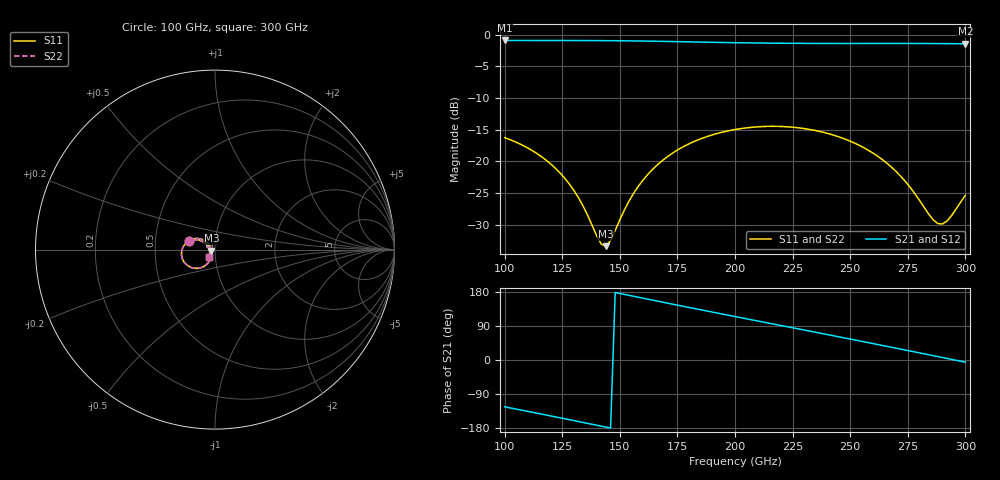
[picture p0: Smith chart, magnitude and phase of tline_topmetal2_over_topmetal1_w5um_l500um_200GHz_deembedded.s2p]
! Created with skrf 2.2.0 (http://scikit-rf.org).
# GHz S DB R 50.0
! Port[1] = P1
! Port[2] = P2
!freq dBS11 angS11 dBS21 angS21 dBS12 angS12 dBS22 angS22
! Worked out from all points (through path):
!   101 points, 100 GHz to 300 GHz, reference 50 ohm
!   highest |S21| = -0.91 dB at 100 GHz (marker M1); lowest = -1.4 dB at 300 GHz (marker M2)
!   group delay of S21, straight-line fit = 3.35 ps
!   lowest |S11| = -33.4 dB at 144 GHz (marker M3), VSWR 1.04, Z = 48 - j0.581 ohm
!   |S11| at or under -10 dB: start of sweep to end of sweep
!   |S22| runs from -33.3 to -14.5 dB; largest |S21 - S12| = 1.5e-14
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100  -16.25 161.5  -0.91 -123.5  -0.91 -123.5  -16.23 161.8
110  -17.87 151.1  -0.91 -135.5  -0.91 -135.5  -17.86 151.5
120  -20.40 142.4  -0.91 -147.6  -0.91 -147.6  -20.38 142.8
128  -23.52 138.5  -0.92 -157.4  -0.92 -157.4  -23.49 138.9
134  -27.00 141.1  -0.92 -164.8  -0.92 -164.8  -26.95 141.6
142  -33.08 176.8  -0.93 -174.6  -0.93 -174.6  -32.97 177.0
144  -33.39 -163.6  -0.94 -177.1  -0.94 -177.1  -33.28 -163.7
146  -32.48 -145.5  -0.94 -179.5  -0.94 -179.5  -32.40 -145.7
156  -25.04 -116.3  -0.98 168.1  -0.98 168.1  -25.03 -116.3
162  -22.12 -116.9  -1.01 160.7  -1.01 160.7  -22.12 -116.8
168  -20.02 -120.6  -1.05 153.3  -1.05 153.3  -20.01 -120.4
182  -16.90 -133.1  -1.14 136.3  -1.14 136.3  -16.89 -132.8
200  -14.97 -151.3  -1.26 114.7  -1.26 114.7  -14.96 -150.9
216  -14.47 -167.6  -1.33 95.7  -1.33 95.7  -14.45 -167.2
234  -15.06 174.3  -1.38 74.4  -1.38 74.4  -15.04 174.8
252  -17.13 157.5  -1.38 52.9  -1.38 52.9  -17.10 158.2
268  -20.94 147.3  -1.38 33.5  -1.38 33.5  -20.89 148.0
274  -23.20 147.1  -1.38 26.2  -1.38 26.2  -23.13 147.9
284  -28.29 164.2  -1.39 14.0  -1.39 14.0  -28.16 164.7
288  -29.81 -175.6  -1.40 9.1  -1.40 9.1  -29.68 -175.4
292  -29.43 -151.4  -1.41 4.1  -1.41 4.1  -29.34 -151.5
300  -25.34 -125.9  -1.44 -5.7  -1.44 -5.7  -25.33 -125.8
